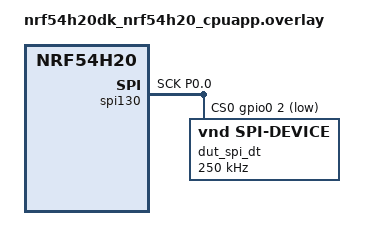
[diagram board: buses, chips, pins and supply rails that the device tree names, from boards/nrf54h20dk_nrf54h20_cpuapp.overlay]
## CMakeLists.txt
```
#
# Copyright (c) 2026 Nordic Semiconductor ASA
#
# SPDX-License-Identifier: LicenseRef-Nordic-5-Clause
#

cmake_minimum_required(VERSION 3.20.0)

find_package(Zephyr REQUIRED HINTS $ENV{ZEPHYR_BASE})

project(spim_pm_sck_cs)

target_sources(app PRIVATE src/main.c)
```

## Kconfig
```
#
# Copyright (c) 2026 Nordic Semiconductor ASA
#
# SPDX-License-Identifier: LicenseRef-Nordic-5-Clause
#

rsource "Kconfig.spi_mode"
rsource "Kconfig.scenario"

source "Kconfig.zephyr"
```

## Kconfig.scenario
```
#
# Copyright (c) 2026 Nordic Semiconductor ASA
#
# SPDX-License-Identifier: LicenseRef-Nordic-5-Clause
#

choice TEST_SCENARIO
	prompt "SPI test scenario"
	default TEST_SCENARIO_SYNC
	help
	  Selected by sysbuild from SB_CONFIG_TEST_SCENARIO_*.

config TEST_SCENARIO_SYNC
	bool "Single synchronous transaction"
	help
	  One byte sent with spi_write_dt(). Expected: 1 CS window, 16 SCK edges.

config TEST_SCENARIO_RTIO_QUEUED
	bool "Two queued RTIO transactions"
	select SPI_RTIO if SPI
	help
	  Two independent one-byte RTIO transactions submitted at once, so that
	  the second one is queued in the driver when the first one completes.
	  Expected: 2 CS windows, 16 SCK edges each.

config TEST_SCENARIO_RTIO_CALLBACK
	bool "RTIO transaction submitted from a completion callback"
	select SPI_RTIO if SPI
	help
	  One-byte RTIO transaction chained with a callback that submits
	  another one-byte transaction. Expected: 2 CS windows, 16 SCK edges each.

config TEST_SCENARIO_RTIO_HOLD_ON_CS
	bool "Two queued RTIO transactions, first with SPI_HOLD_ON_CS"
	select SPI_RTIO if SPI
	help
	  Like the queued scenario, but the first transaction keeps CS active.
	  Expected: 1 CS window, 32 SCK edges.

endchoice
```

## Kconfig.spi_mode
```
#
# Copyright (c) 2026 Nordic Semiconductor ASA
#
# SPDX-License-Identifier: LicenseRef-Nordic-5-Clause
#

config TEST_SPI_MODE
	int "SPI mode"
	range 0 3
	default 0
	help
	  SPI mode used by the SPIM controlled by the application core:
	  0 - CPOL = 0, CPHA = 0,
	  1 - CPOL = 0, CPHA = 1,
	  2 - CPOL = 1, CPHA = 0,
	  3 - CPOL = 1, CPHA = 1.
	  Value is set by sysbuild from SB_CONFIG_TEST_SPI_MODE.
```

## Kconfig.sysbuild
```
#
# Copyright (c) 2026 Nordic Semiconductor ASA
#
# SPDX-License-Identifier: LicenseRef-Nordic-5-Clause
#

if SUPPORT_FLPRCORE

choice FLPRCORE
	default FLPRCORE_TESTAPP

config FLPRCORE_TESTAPP
	bool "testapp image"

endchoice

config FLPRCORE_IMAGE_NAME
	default "testapp" if FLPRCORE_TESTAPP

config FLPRCORE_IMAGE_PATH
	default "$(APP_DIR)/testapp" if FLPRCORE_TESTAPP

endif # SUPPORT_FLPRCORE

config TEST_SPI_MODE
	int "SPI mode"
	range 0 3
	default 0
	help
	  SPI mode used by the SPIM controlled by the application core.
	  Propagated as CONFIG_TEST_SPI_MODE to both the application and FLPR images.

choice TEST_SCENARIO
	prompt "SPI test scenario"
	default TEST_SCENARIO_SYNC
	help
	  Propagated as CONFIG_TEST_SCENARIO_* to both the application
	  and FLPR images.

config TEST_SCENARIO_SYNC
	bool "Single synchronous transaction"

config TEST_SCENARIO_RTIO_QUEUED
	bool "Two queued RTIO transactions"

config TEST_SCENARIO_RTIO_CALLBACK
	bool "RTIO transaction submitted from a completion callback"

config TEST_SCENARIO_RTIO_HOLD_ON_CS
	bool "Two queued RTIO transactions, first with SPI_HOLD_ON_CS"

endchoice

source "share/sysbuild/Kconfig"
```

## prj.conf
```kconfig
CONFIG_SPI=y
CONFIG_GPIO=y

# UART20 is used by the FLPR core (test result)
CONFIG_SERIAL=n
CONFIG_UART_CONSOLE=n

CONFIG_PM_DEVICE=y
CONFIG_PM_DEVICE_RUNTIME=y
CONFIG_PINCTRL_KEEP_SLEEP_STATE=y
```

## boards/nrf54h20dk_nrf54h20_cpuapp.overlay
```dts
/*
 * Copyright (c) 2026 Nordic Semiconductor ASA
 *
 * SPDX-License-Identifier: LicenseRef-Nordic-5-Clause
 */

/* Test requires wire connections between SPIM pins driven by the application
 * core and GPIO inputs monitored by the FLPR core:
 *  - SPIM SCK P0.0 - P0.1,
 *  - SPIM CS  P0.2 - P0.4.
 */

/* Console of the FLPR core. */
&uart136 {
	status = "reserved";
};

&pinctrl {
	spi130_default_test: spi130_default_test {
		group1 {
			psels = <NRF_PSEL(SPIM_SCK, 0, 0)>;
		};
	};

	spi130_sleep_test: spi130_sleep_test {
		group1 {
			psels = <NRF_PSEL(SPIM_SCK, 0, 0)>;
			low-power-enable;
		};
	};
};

&gpio0 {
	status = "okay";
};

&exmif {
	status = "disabled";
};

&spi130 {
	compatible = "nordic,nrf-spim";
	status = "okay";
	pinctrl-0 = <&spi130_default_test>;
	pinctrl-1 = <&spi130_sleep_test>;
	pinctrl-names = "default", "sleep";
	memory-regions = <&cpuapp_dma_region>;
	cs-gpios = <&gpio0 2 GPIO_ACTIVE_LOW>;
	zephyr,pm-device-runtime-auto;

	dut_spi_dt: test-spi-dev@0 {
		compatible = "vnd,spi-device";
		reg = <0>;
		spi-max-frequency = <250000>;
		spi-cs-setup-delay-ns = <2000>;
		spi-cs-hold-delay-ns = <2000>;
	};
};
```

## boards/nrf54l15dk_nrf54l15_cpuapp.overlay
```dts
/*
 * Copyright (c) 2026 Nordic Semiconductor ASA
 *
 * SPDX-License-Identifier: LicenseRef-Nordic-5-Clause
 */

/* Test requires wire connections between SPIM pins driven by the application
 * core and GPIO inputs monitored by the FLPR core:
 *  - SPIM SCK P1.11 - P1.10,
 *  - SPIM CS  P1.9  - P1.8.
 */

/* Console of the FLPR core. */
&uart20 {
	status = "reserved";
};

&pinctrl {
	spi21_default_test: spi21_default_test {
		group1 {
			psels = <NRF_PSEL(SPIM_SCK, 1, 11)>;
		};
	};

	spi21_sleep_test: spi21_sleep_test {
		group1 {
			psels = <NRF_PSEL(SPIM_SCK, 1, 11)>;
			low-power-enable;
		};
	};
};

&spi21 {
	status = "okay";
	pinctrl-0 = <&spi21_default_test>;
	pinctrl-1 = <&spi21_sleep_test>;
	pinctrl-names = "default", "sleep";
	cs-gpios = <&gpio1 9 GPIO_ACTIVE_LOW>;
	zephyr,pm-device-runtime-auto;

	dut_spi_dt: test-spi-dev@0 {
		compatible = "vnd,spi-device";
		reg = <0>;
		spi-max-frequency = <250000>;
		spi-cs-setup-delay-ns = <2000>;
		spi-cs-hold-delay-ns = <2000>;
	};
};
```

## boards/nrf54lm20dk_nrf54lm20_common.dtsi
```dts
/*
 * Copyright (c) 2026 Nordic Semiconductor ASA
 *
 * SPDX-License-Identifier: LicenseRef-Nordic-5-Clause
 */

/* Test requires wire connections between SPIM pins driven by the application
 * core and GPIO inputs monitored by the FLPR core:
 *  - SPIM SCK P1.14 - P1.13,
 *  - SPIM CS  P1.24 - P1.23.
 */

/* Console of the FLPR core. */
&uart20 {
	status = "reserved";
};

&pinctrl {
	spi21_default_test: spi21_default_test {
		group1 {
			psels = <NRF_PSEL(SPIM_SCK, 1, 14)>;
		};
	};

	spi21_sleep_test: spi21_sleep_test {
		group1 {
			psels = <NRF_PSEL(SPIM_SCK, 1, 14)>;
			low-power-enable;
		};
	};
};

&spi21 {
	status = "okay";
	pinctrl-0 = <&spi21_default_test>;
	pinctrl-1 = <&spi21_sleep_test>;
	pinctrl-names = "default", "sleep";
	cs-gpios = <&gpio1 24 GPIO_ACTIVE_LOW>;
	zephyr,pm-device-runtime-auto;

	dut_spi_dt: test-spi-dev@0 {
		compatible = "vnd,spi-device";
		reg = <0>;
		spi-max-frequency = <250000>;
		spi-cs-setup-delay-ns = <2000>;
		spi-cs-hold-delay-ns = <2000>;
	};
};
```

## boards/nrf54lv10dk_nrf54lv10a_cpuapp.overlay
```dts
/*
 * Copyright (c) 2026 Nordic Semiconductor ASA
 *
 * SPDX-License-Identifier: LicenseRef-Nordic-5-Clause
 */

/* Test requires wire connections between SPIM pins driven by the application
 * core and GPIO inputs monitored by the FLPR core:
 *  - SPIM SCK P1.11 - P1.10,
 *  - SPIM CS  P1.9 - P1.8.
 */

/* Console of the FLPR core. */
&uart30 {
	status = "reserved";
};

&pinctrl {
	spi21_default_test: spi21_default_test {
		group1 {
			psels = <NRF_PSEL(SPIM_SCK, 1, 11)>;
		};
	};

	spi21_sleep_test: spi21_sleep_test {
		group1 {
			psels = <NRF_PSEL(SPIM_SCK, 1, 11)>;
			low-power-enable;
		};
	};
};

&spi21 {
	status = "okay";
	pinctrl-0 = <&spi21_default_test>;
	pinctrl-1 = <&spi21_sleep_test>;
	pinctrl-names = "default", "sleep";
	cs-gpios = <&gpio1 9 GPIO_ACTIVE_LOW>;
	zephyr,pm-device-runtime-auto;

	dut_spi_dt: test-spi-dev@0 {
		compatible = "vnd,spi-device";
		reg = <0>;
		spi-max-frequency = <250000>;
		spi-cs-setup-delay-ns = <2000>;
		spi-cs-hold-delay-ns = <2000>;
	};
};
```

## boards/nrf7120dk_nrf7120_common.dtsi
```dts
/*
 * Copyright (c) 2026 Nordic Semiconductor ASA
 *
 * SPDX-License-Identifier: LicenseRef-Nordic-5-Clause
 */

/* Test requires wire connections between SPIM pins driven by the application
 * core and GPIO inputs monitored by the FLPR core:
 *  - SPIM SCK P1.13 - P1.15,
 *  - SPIM CS  P1.12 - P1.7.
 */

/* Console of the FLPR core. */
&uart20 {
	status = "reserved";
};

&pinctrl {
	spi21_default_test: spi21_default_test {
		group1 {
			psels = <NRF_PSEL(SPIM_SCK, 1, 13)>;
		};
	};

	spi21_sleep_test: spi21_sleep_test {
		group1 {
			psels = <NRF_PSEL(SPIM_SCK, 1, 13)>;
			low-power-enable;
		};
	};
};

&spi21 {
	status = "okay";
	pinctrl-0 = <&spi21_default_test>;
	pinctrl-1 = <&spi21_sleep_test>;
	pinctrl-names = "default", "sleep";
	cs-gpios = <&gpio1 12 GPIO_ACTIVE_LOW>;
	zephyr,pm-device-runtime-auto;

	dut_spi_dt: test-spi-dev@0 {
		compatible = "vnd,spi-device";
		reg = <0>;
		spi-max-frequency = <250000>;
		spi-cs-setup-delay-ns = <2000>;
		spi-cs-hold-delay-ns = <2000>;
	};
};
```

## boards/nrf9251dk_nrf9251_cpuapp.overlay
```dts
/*
 * Copyright (c) 2026 Nordic Semiconductor ASA
 *
 * SPDX-License-Identifier: LicenseRef-Nordic-5-Clause
 */

/* Test requires wire connections between SPIM pins driven by the application
 * core and GPIO inputs monitored by the FLPR core:
 *  - SPIM SCK P2.1 - P2.2,
 *  - SPIM CS  P2.3 - P2.9.
 */

/* Console of the FLPR core. */
&uart133 {
	status = "reserved";
};

&pinctrl {
	spi130_default_test: spi130_default_test {
		group1 {
			psels = <NRF_PSEL(SPIM_SCK, 2, 1)>;
		};
	};

	spi130_sleep_test: spi130_sleep_test {
		group1 {
			psels = <NRF_PSEL(SPIM_SCK, 2, 1)>;
			low-power-enable;
		};
	};
};

&gpio2 {
	status = "okay";
};

&spi130 {
	compatible = "nordic,nrf-spim";
	status = "okay";
	pinctrl-0 = <&spi130_default_test>;
	pinctrl-1 = <&spi130_sleep_test>;
	pinctrl-names = "default", "sleep";
	memory-regions = <&cpuapp_dma_region>;
	cs-gpios = <&gpio2 3 GPIO_ACTIVE_LOW>;
	zephyr,pm-device-runtime-auto;

	dut_spi_dt: test-spi-dev@0 {
		compatible = "vnd,spi-device";
		reg = <0>;
		spi-max-frequency = <250000>;
		spi-cs-setup-delay-ns = <2000>;
		spi-cs-hold-delay-ns = <2000>;
	};
};
```

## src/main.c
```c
/*
 * Copyright (c) 2026 Nordic Semiconductor ASA
 *
 * SPDX-License-Identifier: LicenseRef-Nordic-5-Clause
 */

#include <zephyr/logging/log.h>
LOG_MODULE_REGISTER(spim_pm_sck_cs, LOG_LEVEL_INF);

#include <zephyr/kernel.h>
#include <zephyr/devicetree.h>
#include <zephyr/drivers/spi.h>
#if defined(CONFIG_SPI_RTIO)
#include <zephyr/rtio/rtio.h>
#endif

BUILD_ASSERT(DT_NODE_HAS_STATUS_OKAY(DT_NODELABEL(cpuflpr_vpr)),
	     "FLPR core is not enabled, build with the nordic-flpr snippet");

#define SPI_NODE DT_NODELABEL(dut_spi_dt)

#define SPI_CPOL ((CONFIG_TEST_SPI_MODE & 0x2) ? SPI_MODE_CPOL : 0)
#define SPI_CPHA ((CONFIG_TEST_SPI_MODE & 0x1) ? SPI_MODE_CPHA : 0)

#define SPI_OPERATION                                                                              \
	(SPI_OP_MODE_MASTER | SPI_WORD_SET(8) | SPI_TRANSFER_MSB | SPI_CPOL | SPI_CPHA)

#define TEST_BYTE 0x66

#define TRANSACTIONS_MAX 2

static uint8_t tx_buffer[TRANSACTIONS_MAX];

#if defined(CONFIG_TEST_SCENARIO_SYNC)

static struct spi_dt_spec spim_spec = SPI_DT_SPEC_GET(SPI_NODE, SPI_OPERATION);

static int scenario_run(void)
{
	struct spi_buf tx_spi_buf = {.buf = &tx_buffer[0], .len = 1};
	struct spi_buf_set tx_spi_buf_set = {.buffers = &tx_spi_buf, .count = 1};

	if (!spi_is_ready_dt(&spim_spec)) {
		LOG_ERR("SPI device is not ready");
		return -ENODEV;
	}

	k_msleep(100);

	return spi_write_dt(&spim_spec, &tx_spi_buf_set);
}

#else /* RTIO scenarios */

#define CQE_TIMEOUT_MS 1000

RTIO_DEFINE(spi_rtio, 4, 4);
SPI_DT_IODEV_DEFINE(spi_iodev, SPI_NODE, SPI_OPERATION);
SPI_DT_IODEV_DEFINE(spi_iodev_hold_cs, SPI_NODE, SPI_OPERATION | SPI_HOLD_ON_CS);

static volatile int callback_err;

static int write_prepare(const struct rtio_iodev *iodev, const uint8_t *buf, uint32_t flags)
{
	struct rtio_sqe *sqe = rtio_sqe_acquire(&spi_rtio);

	if (sqe == NULL) {
		return -ENOMEM;
	}

	rtio_sqe_prep_write(sqe, iodev, RTIO_PRIO_NORM, buf, 1, NULL);
	sqe->flags |= flags;

	return 0;
}

/* Runs in the SPIM completion context of the first transaction. */
static void second_write_submit(struct rtio *r, const struct rtio_sqe *sqe, int res, void *arg0)
{
	ARG_UNUSED(sqe);
	ARG_UNUSED(arg0);

	if (res < 0) {
		callback_err = res;
		return;
	}

	callback_err = write_prepare(&spi_iodev, &tx_buffer[1], 0);
	if (callback_err == 0) {
		rtio_submit(r, 0);
	}
}

static int transactions_submit(void)
{
	struct rtio_sqe *sqe;
	int ret;

	if (IS_ENABLED(CONFIG_TEST_SCENARIO_RTIO_QUEUED)) {
		ret = write_prepare(&spi_iodev, &tx_buffer[0], 0);
		if (ret == 0) {
			ret = write_prepare(&spi_iodev, &tx_buffer[1], 0);
		}
	} else if (IS_ENABLED(CONFIG_TEST_SCENARIO_RTIO_HOLD_ON_CS)) {
		ret = write_prepare(&spi_iodev_hold_cs, &tx_buffer[0], 0);
		if (ret == 0) {
			ret = write_prepare(&spi_iodev, &tx_buffer[1], 0);
		}
	} else {
		ret = write_prepare(&spi_iodev, &tx_buffer[0], RTIO_SQE_CHAINED);
		if (ret == 0) {
			sqe = rtio_sqe_acquire(&spi_rtio);
			if (sqe == NULL) {
				ret = -ENOMEM;
			} else {
				rtio_sqe_prep_callback_no_cqe(sqe, second_write_submit, NULL, NULL);
			}
		}
	}

	if (ret != 0) {
		return ret;
	}

	return rtio_submit(&spi_rtio, 0);
}

static int completions_wait(void)
{
	int64_t timeout = k_uptime_get() + CQE_TIMEOUT_MS;
	uint32_t completed = 0;
	struct rtio_cqe *cqe;
	int ret = 0;

	while (completed < TRANSACTIONS_MAX) {
		cqe = rtio_cqe_consume(&spi_rtio);
		if (cqe == NULL) {
			if (k_uptime_get() > timeout) {
				LOG_ERR("Timeout, %u of %u transactions completed", completed,
					TRANSACTIONS_MAX);
				return -ETIMEDOUT;
			}
			k_msleep(1);
			continue;
		}

		if (cqe->result < 0) {
			LOG_ERR("Transaction %u failed, err: %d", completed, cqe->result);
			ret = cqe->result;
		}

		rtio_cqe_release(&spi_rtio, cqe);
		completed++;
	}

	if (callback_err != 0) {
		LOG_ERR("Callback failed, err: %d", callback_err);
		ret = callback_err;
	}

	return ret;
}

static int scenario_run(void)
{
	int ret;

	k_msleep(100);

	ret = transactions_submit();
	if (ret != 0) {
		LOG_ERR("RTIO submit failed, err: %d", ret);
		return ret;
	}

	return completions_wait();
}

#endif /* CONFIG_TEST_SCENARIO_SYNC */

int main(void)
{
	int ret;

	LOG_INF("SPIM PM SCK CS test on %s, SPI mode: %d", CONFIG_BOARD_TARGET,
		CONFIG_TEST_SPI_MODE);

	for (size_t i = 0; i < ARRAY_SIZE(tx_buffer); i++) {
		tx_buffer[i] = TEST_BYTE;
	}

	ret = scenario_run();
	if (ret != 0) {
		LOG_ERR("Scenario failed, err: %d", ret);
		return ret;
	}

	LOG_INF("Transfers done");

	return 0;
}
```
